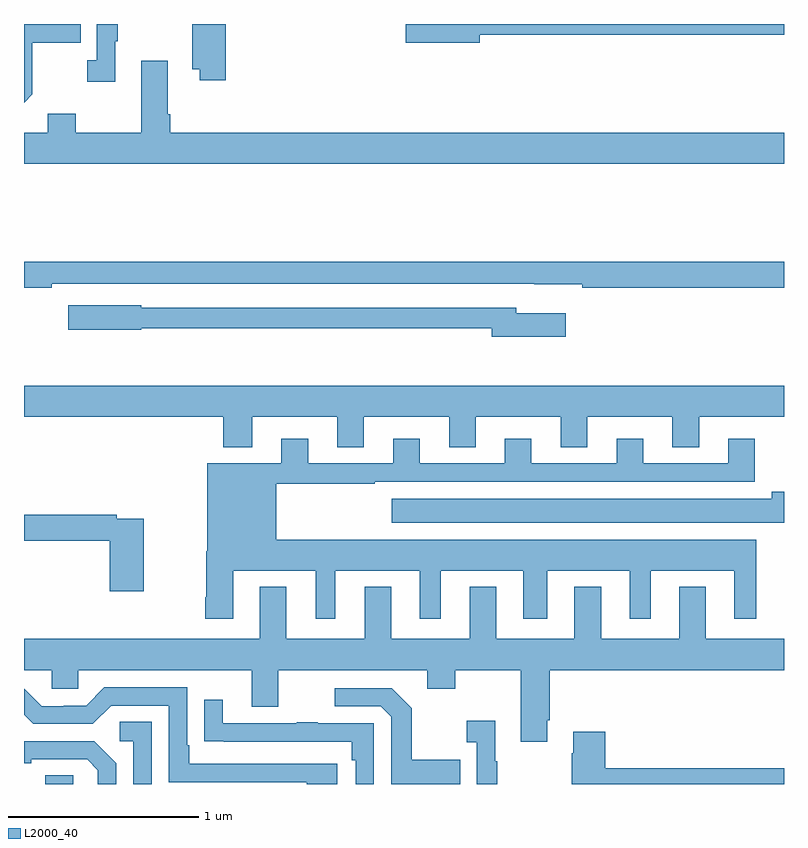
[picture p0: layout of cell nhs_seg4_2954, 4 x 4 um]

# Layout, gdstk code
import gdstk
lib = gdstk.Library(unit=1e-6, precision=1e-09)
def R(c, l, rs):  # rectangles x0, y0, x1, y1
    for r in rs: c.add(gdstk.rectangle(r[:2], r[2:], *l))
def P(c, l, *ps):  # polygons
    for p in ps: c.add(gdstk.Polygon(p, *l))
L2000_40 = (2000, 40)

nhs_seg4_2954 = lib.new_cell('nhs_seg4_2954')
R(nhs_seg4_2954, L2000_40, [(267.113,782.9,267.258,782.945)])
P(nhs_seg4_2954, L2000_40, [(267.043,786.529),(267.043,786.802),(267.299,786.802),(267.299,786.9),(267,786.9),(267,786.486)],
  [(267.481,786.809),(267.493,786.809),(267.493,786.9),(267.384,786.9),(267.384,786.71),(267.333,786.71),(267.333,786.597),(267.481,786.597)],
  [(268.061,786.9),(267.886,786.9),(267.886,786.662),(267.926,786.662),(267.926,786.603),(268.061,786.603)],
  [(269.398,786.844),(271,786.844),(271,786.9),(269.01,786.9),(269.01,786.802),(269.398,786.802)],
  [(271,786.328),(267.77,786.328),(267.77,786.424),(267.757,786.424),(267.757,786.706),(267.617,786.706),(267.617,786.328),(267.273,786.328),(267.273,786.427),(267.125,786.427),(267.125,786.328),(267,786.328),(267,786.164),(271,786.164)],
  [(267.146,785.532),(269.686,785.532),(269.686,785.531),(269.938,785.531),(269.938,785.512),(271,785.512),(271,785.648),(267,785.648),(267,785.512),(267.146,785.512)],
  [(269.851,785.377),(269.59,785.377),(269.59,785.406),(267.618,785.406),(267.618,785.419),(267.234,785.419),(267.234,785.29),(267.618,785.29),(267.618,785.298),(269.462,785.298),(269.462,785.255),(269.851,785.255)],
  [(268.789,784.832),(269.237,784.832),(269.237,784.672),(269.377,784.672),(269.377,784.832),(269.825,784.832),(269.825,784.672),(269.965,784.672),(269.965,784.832),(270.413,784.832),(270.413,784.672),(270.553,784.672),(270.553,784.832),(271,784.832),(271,784.996),(267,784.996),(267,784.832),(268.049,784.832),(268.049,784.673),(268.201,784.673),(268.201,784.832),(268.649,784.832),(268.649,784.672),(268.789,784.672)],
  [(268.102,784.022),(268.535,784.022),(268.535,783.771),(268.639,783.771),(268.639,784.022),(269.084,784.022),(269.084,783.771),(269.194,783.771),(269.194,784.022),(269.627,784.022),(269.627,783.771),(269.755,783.771),(269.755,784.022),(270.188,784.022),(270.188,783.771),(270.298,783.771),(270.298,784.022),(270.737,784.022),(270.737,783.771),(270.853,783.771),(270.853,784.186),(268.327,784.186),(268.327,784.479),(268.847,784.479),(268.847,784.491),(270.847,784.491),(270.847,784.717),(270.707,784.717),(270.707,784.587),(270.259,784.587),(270.259,784.717),(270.119,784.717),(270.119,784.587),(269.671,784.587),(269.671,784.717),(269.531,784.717),(269.531,784.587),(269.083,784.587),(269.083,784.717),(268.943,784.717),(268.943,784.587),(268.495,784.587),(268.495,784.717),(268.355,784.717),(268.355,784.588),(267.965,784.588),(267.965,784.126),(267.958,784.126),(267.958,783.883),(267.953,783.883),(267.953,783.771),(268.102,783.771)],
  [(271,784.438),(270.935,784.438),(270.935,784.402),(268.935,784.402),(268.935,784.274),(271,784.274)],
  [(267.63,784.296),(267.488,784.296),(267.488,784.316),(267,784.316),(267,784.18),(267.452,784.18),(267.452,783.915),(267.63,783.915)],
  [(269.755,783.235),(269.768,783.235),(269.768,783.5),(271,783.5),(271,783.664),(270.589,783.664),(270.589,783.937),(270.449,783.937),(270.449,783.664),(270.037,783.664),(270.037,783.937),(269.897,783.937),(269.897,783.664),(269.485,783.664),(269.485,783.937),(269.345,783.937),(269.345,783.664),(268.933,783.664),(268.933,783.937),(268.793,783.937),(268.793,783.664),(268.381,783.664),(268.381,783.937),(268.241,783.937),(268.241,783.664),(267,783.664),(267,783.5),(267.147,783.5),(267.147,783.402),(267.285,783.402),(267.285,783.5),(268.199,783.5),(268.199,783.306),(268.339,783.306),(268.339,783.5),(269.123,783.5),(269.123,783.401),(269.271,783.401),(269.271,783.5),(269.615,783.5),(269.615,783.123),(269.755,783.123)],
  [(268.648,783.006),(267.871,783.006),(267.871,783.103),(267.858,783.103),(267.858,783.408),(267.423,783.408),(267.327,783.312),(267.209,783.312),(267.209,783.309),(267.093,783.309),(267,783.402),(267,783.264),(267.048,783.216),(267.363,783.216),(267.459,783.312),(267.762,783.312),(267.762,782.91),(268.487,782.91),(268.487,782.9),(268.648,782.9)],
  [(269.297,783.027),(269.041,783.027),(269.041,783.299),(268.935,783.405),(268.635,783.405),(268.635,783.309),(268.878,783.309),(268.932,783.255),(268.932,782.9),(269.297,782.9)],
  [(268.842,783.219),(268.547,783.219),(268.547,783.224),(268.435,783.224),(268.435,783.219),(268.045,783.219),(268.045,783.343),(267.949,783.343),(267.949,783.124),(268.051,783.124),(268.051,783.123),(268.726,783.123),(268.726,783.026),(268.746,783.026),(268.746,782.9),(268.842,782.9)],
  [(269.491,783.019),(269.479,783.019),(269.479,783.232),(269.331,783.232),(269.331,783.119),(269.382,783.119),(269.382,782.9),(269.491,782.9)],
  [(267.672,783.227),(267.504,783.227),(267.504,783.126),(267.576,783.126),(267.576,782.9),(267.672,782.9)],
  [(271,782.984),(270.059,782.984),(270.059,783.175),(269.891,783.175),(269.891,783.062),(269.884,783.062),(269.884,782.9),(271,782.9)],
  [(267.486,783.01),(267.37,783.126),(267,783.126),(267,783.008),(267.037,783.008),(267.037,783.03),(267.332,783.03),(267.389,782.973),(267.389,782.9),(267.486,782.9)])

lib.write_gds('nhs_seg4_2954.gds')
